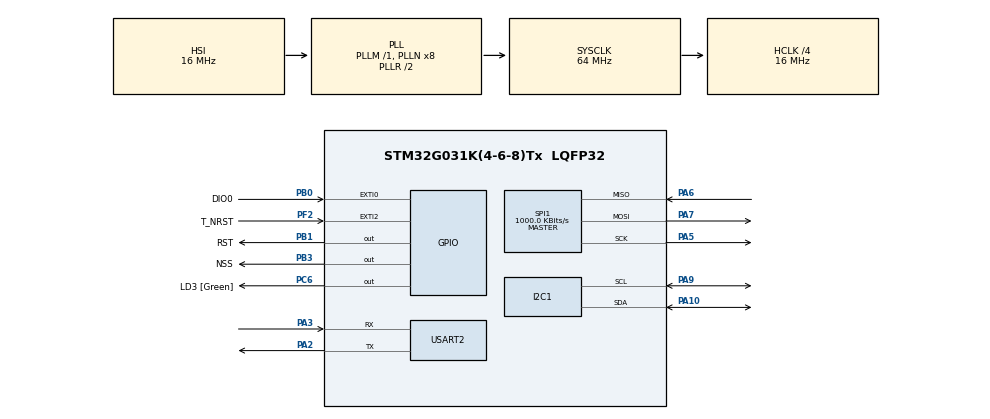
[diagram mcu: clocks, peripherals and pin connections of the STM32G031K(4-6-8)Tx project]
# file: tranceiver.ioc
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I2C1.Timing=0x00503D58
Mcu.Family=STM32G0
Mcu.Name=STM32G031K(4-6-8)Tx
Mcu.Package=LQFP32
NVIC.EXTI0_1_IRQn=true\:0\:0\:false\:false\:true\:true\:true\:true
NVIC.RTC_TAMP_IRQn=true\:0\:0\:true\:false\:true\:true\:true\:true
NVIC.SPI1_IRQn=true\:0\:0\:false\:false\:true\:true\:true\:true
NVIC.TIM16_IRQn=true\:1\:0\:true\:false\:true\:true\:true\:true
PA10.GPIO_Pu=GPIO_PULLUP
PA10.GPIO_Speed=GPIO_SPEED_FREQ_VERY_HIGH
PA10.Mode=I2C
PA10.Signal=I2C1_SDA
PA13.GPIO_Label=T_JTMS
PA13.Mode=Serial_Wire
PA13.Signal=SYS_SWDIO
PA14-BOOT0.GPIO_Label=T_JTCK
PA14-BOOT0.Mode=Serial_Wire
PA14-BOOT0.Signal=SYS_SWCLK
PA2.GPIO_ModeDefaultPP=GPIO_MODE_AF_PP
PA2.GPIO_PuPd=GPIO_NOPULL
PA2.GPIO_Speed=GPIO_SPEED_FREQ_LOW
PA2.Mode=Asynchronous
PA2.Signal=USART2_TX
PA3.GPIO_ModeDefaultPP=GPIO_MODE_AF_PP
PA3.GPIO_PuPd=GPIO_NOPULL
PA3.GPIO_Speed=GPIO_SPEED_FREQ_LOW
PA3.Mode=Asynchronous
PA3.Signal=USART2_RX
PA5.Mode=Full_Duplex_Master
PA5.Signal=SPI1_SCK
PA6.Mode=Full_Duplex_Master
PA6.Signal=SPI1_MISO
PA7.Mode=Full_Duplex_Master
PA7.Signal=SPI1_MOSI
PA9.GPIO_Pu=GPIO_PULLUP
PA9.GPIO_Speed=GPIO_SPEED_FREQ_VERY_HIGH
PA9.Mode=I2C
PA9.Signal=I2C1_SCL
PB0.GPIO_Label=DIO0
PB0.Signal=GPXTI0
PB1.GPIO_Label=RST
PB1.GPIO_Speed=GPIO_SPEED_FREQ_VERY_HIGH
PB1.PinState=GPIO_PIN_SET
PB1.Signal=GPIO_Output
PB3.GPIO_Label=NSS
PB3.GPIO_Speed=GPIO_SPEED_FREQ_VERY_HIGH
PB3.PinState=GPIO_PIN_SET
PB3.Signal=GPIO_Output
PC14-OSC32_IN\ (PC14).Mode=LSE-External-Oscillator
PC14-OSC32_IN\ (PC14).Signal=RCC_OSC32_IN
PC15-OSC32_OUT\ (PC15).Mode=LSE-External-Oscillator
PC15-OSC32_OUT\ (PC15).Signal=RCC_OSC32_OUT
PC6.GPIO_Label=LD3 [Green]
PC6.Signal=GPIO_Output
PF2\ -\ NRST.GPIO_Label=T_NRST
PF2\ -\ NRST.Signal=GPXTI2
ProjectManager.HeapSize=0x200
ProjectManager.StackSize=0x400
ProjectManager.TargetToolchain=STM32CubeIDE
RCC.ADCFreq_Value=64000000
RCC.AHBCLKDivider=RCC_SYSCLK_DIV4
RCC.AHBFreq_Value=16000000
RCC.CortexFreq_Value=16000000
RCC.EXTERNAL_CLOCK_VALUE=12288000
RCC.HCLKFreq_Value=16000000
RCC.HSE_VALUE=8000000
RCC.HSI_VALUE=16000000
RCC.SYSCLKFreq_VALUE=64000000
RCC.SYSCLKSource=RCC_SYSCLKSOURCE_PLLCLK
RCC.VCOOutputFreq_Value=128000000
RTC.Alarm-Alarm\ A=RTC_ALARM_A
RTC.Format=RTC_FORMAT_BIN
RTC.Minutes_A-Alarm\ A=1
RTC.WakeUpCounter-WakeUp=20428
SPI1.BaudRatePrescaler=SPI_BAUDRATEPRESCALER_16
SPI1.CalculateBaudRate=1000.0 KBits/s
SPI1.Direction=SPI_DIRECTION_2LINES
SPI1.Mode=SPI_MODE_MASTER
SPI1.NSSPMode=SPI_NSS_PULSE_DISABLE
SPI1.VirtualType=VM_MASTER
USART2.VirtualMode-Asynchronous=VM_ASYNC
VP_RTC_VS_RTC_Activate.Mode=RTC_Enabled
VP_RTC_VS_RTC_Alarm_A_Intern.Mode=Alarm A
VP_RTC_VS_RTC_Calendar.Mode=RTC_Calendar
VP_RTC_VS_RTC_WakeUp_intern.Mode=WakeUp
VP_TIM16_VS_ClockSourceINT.Mode=Enable_Timer
board=NUCLEO-G031K8

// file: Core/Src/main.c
/* USER CODE BEGIN Header */
/**
 ******************************************************************************
 * @file           : main.c
 * @brief          : Main program body
 ******************************************************************************
 * @attention
 *
 * Copyright (c) 2025 STMicroelectronics.
 * All rights reserved.
 *
 * This software is licensed under terms that can be found in the LICENSE file
 * in the root directory of this software component.
 * If no LICENSE file comes with this software, it is provided AS-IS.
 *
 ******************************************************************************
 */
/* USER CODE END Header */
#include "main.h"

/* USER CODE BEGIN Includes */

#include <stdio.h>
#include <string.h>
#include <stdlib.h>
#include "LoRa.h"

/* USER CODE END Includes */

/* USER CODE BEGIN PD */

#define RX_BUFFER_MAX_LENGTH 64
#define TIME_BUFFER_LENGTH 2

#define LED_Pin GPIO_PIN_5
#define LED_GPIO_Port GPIOA

#define DEBUG_ENABLED 1 // Установить на 1 для включения отладки

#if DEBUG_ENABLED
#define DEBUG_MSG(msg)                                              \
  do                                                                \
  {                                                                 \
    HAL_UART_Transmit(&huart2, (uint8_t *)(msg), strlen(msg), 100); \
  } while (0)
#define DEBUG_PRINTF(fmt, ...)                                    \
  do                                                              \
  {                                                               \
    char buf[64];                                                 \
    snprintf(buf, sizeof(buf), fmt, ##__VA_ARGS__);               \
    HAL_UART_Transmit(&huart2, (uint8_t *)buf, strlen(buf), 100); \
  } while (0)
#else
#define DEBUG_MSG(msg)
#define DEBUG_PRINTF(fmt, ...)
#endif

/* USER CODE END PD */

I2C_HandleTypeDef hi2c1;

RTC_HandleTypeDef hrtc;

SPI_HandleTypeDef hspi1;

TIM_HandleTypeDef htim16;

UART_HandleTypeDef huart2;

/* USER CODE BEGIN PV */

typedef struct
{
  uint8_t rank;
  uint8_t network_id;
  size_t buffer_size;
  char **buffer;
} Node;

typedef enum
{
  STATE_SLEEP = 0,         // Сон до следующего события
  STATE_MEASUREMENT,       // Выполнение измерения
  STATE_WAIT_DATA,         // Ожидание данных от предыдущих узлов
  STATE_TRANSMIT,          // Передача данных
  STATE_RECEIVE_TIMEOUT,   // Таймаут приема
  STATE_WAIT_SYNC,         // Ожидание синхронизации времени от приемника
  STATE_WAIT_CONFIGURATION // Ожидание конфигурации устройства при первой загрузке
} DeviceState;

typedef struct
{
  uint8_t rank;                  // Ранг устройства (нумерация начинается с единицы!!!)
  uint8_t network_id;            // Идентификатор сети
  uint8_t buffer_size;           // Размер буфера для пакета
  uint16_t wait_timeout;         // Таймаут ожидания от предыдущих узлов
  uint16_t sync_wait_timeout;    // Таймаут ожидания сообщения с временем от приемника
  uint8_t default_alarm_hours;   // Часы будильника по умолчанию
  uint8_t default_alarm_minutes; // Минуты будильника по умолчанию
  uint16_t wakeup_timeout;       // Время пробуждения по таймеру RTC в миллисекундах
  // DeviceState mode;              // Режим работы устройства (синхронизированный или же нет)
} DeviceConfig;

Node *this_transmitter;
LoRa lora_module;
DeviceConfig device_config;
DeviceState current_state;
size_t packet_size = 0;
/* USER CODE END PV */

void SystemClock_Config(void);
static void MX_GPIO_Init(void);
static void MX_I2C1_Init(void);
static void MX_SPI1_Init(void);
static void MX_USART2_UART_Init(void);
static void MX_RTC_Init(void);
static void MX_TIM16_Init(void);
/* USER CODE BEGIN PFP */

float read_voltage_ads1115(void);
void transmit_data(Node *node);
void reset_lora();
void check_spi_config();
void SystemClock_Config(void);
void enter_to_sleep(void);
void ads1115_init(void);
void RTC_Init(uint16_t timeout_ms);
Node *configure_node(uint8_t rank, uint8_t network_id, size_t buffer_size);
int push_to_packet(Node *transmitter, uint8_t rank, char *buffer);
void receive_transmit();
void sync_time_with_receiver(uint16_t sync_wait_timeout);

/* USER CODE END PFP */

/* USER CODE BEGIN 0 */

/*********************  Функции для работы с Node и обработки пакетов *********/

Node *configure_node(uint8_t rank, uint8_t network_id, size_t buffer_size)
{
  Node *transmitter = (Node *)malloc(sizeof(Node));
  if (!transmitter)
  {
    DEBUG_MSG("Error with Node initialization! \r\n");
    return NULL;
  }

  transmitter->rank = rank;
  transmitter->network_id = network_id;
  transmitter->buffer_size = buffer_size;
  transmitter->buffer = (char **)malloc(rank * sizeof(char *));

  if (!transmitter->buffer)
  {
    DEBUG_MSG("Error with Node's buffer initialization! \r\n");
    free(transmitter);
    return NULL;
  }

  for (size_t i = 0; i < rank; i++)
  {
    transmitter->buffer[i] = (char *)malloc(buffer_size + 1);
    if (!transmitter->buffer[i])
    {
      DEBUG_MSG("Error allocating buffer row! \r\n");
      // Освобождаем уже выделенную память
      for (size_t j = 0; j < i; j++)
      {
        free(transmitter->buffer[j]);
      }
      free(transmitter->buffer);
      free(transmitter);
      return NULL;
    }
    transmitter->buffer[i][0] = '\0';
  }

  // Правильная отладочная информация
  char msg[50];
  snprintf(msg, sizeof(msg), "Configured Node with params: N%dD%d \r\n",
           transmitter->network_id, transmitter->rank);
  HAL_UART_Transmit(&huart2, (uint8_t *)msg, strlen(msg), 200);

  return transmitter;
}

int push_to_packet(Node *transmitter, uint8_t rank, char *buffer)
{
  if (!transmitter || !buffer || rank > transmitter->rank)
  {
    return -1;
  }
  uint8_t index = rank - 1;

  // strncpy автоматически добавляет null-terminator
  // (если строка меньше, чем max_size)
  strncpy(transmitter->buffer[index], buffer,
          transmitter->buffer_size - 1);

  // Гарантируем null-terminator в конце
  transmitter->buffer[index][transmitter->buffer_size - 1] = '\0';

  return 0;
}

size_t serialize(Node *node, uint8_t *buffer, size_t buffer_len)
{
  if (!node || !buffer)
  {
    DEBUG_MSG("ERROR: Invalid parameters\r\n");
    return 0;
  }

  size_t offset = 0;

  if (offset + sizeof(node->network_id) > buffer_len)
  {
    DEBUG_MSG("ERROR: Buffer overflow at network_id\r\n");
    return 0;
  }

  memcpy(buffer + offset, &node->network_id, sizeof(node->network_id));
  offset += sizeof(node->network_id);

  if (offset + sizeof(node->rank) > buffer_len)
  {
    DEBUG_MSG("ERROR: Buffer overflow at rank\r\n");
    return 0;
  }

  memcpy(buffer + offset, &node->rank, sizeof(node->rank));
  offset += sizeof(node->rank);

  for (uint8_t i = 0; i < node->rank; i++)
  {
    if (!node->buffer || !node->buffer[i])
    {
      char warn[80];
      snprintf(warn, sizeof(warn),
               "WARNING: Empty buffer at slot %d\r\n", i);
      DEBUG_MSG(warn);
      continue;
    }

    size_t len = strlen(node->buffer[i]);

    // Проверяем, влезают ли данные в буфер
    if (offset + len + 1 > buffer_len)
    {
      char overflow[80];
      snprintf(overflow, sizeof(overflow),
               "WARNING: Not enough space for string %d (need %u, have %u)\r\n",
               i, (unsigned int)len,
               (unsigned int)(buffer_len - offset));
      DEBUG_MSG(overflow);
      break;
    }

    memcpy(buffer + offset, node->buffer[i], len + 1);
    offset += len + 1;

    char str_msg[50];
    snprintf(str_msg, sizeof(str_msg),
             "String %d: '%s' (len=%u), offset now=%u\r\n",
             i, node->buffer[i], (unsigned int)len, (unsigned int)offset);
    DEBUG_MSG(str_msg);
  }

  char header[50];
  snprintf(header, sizeof(header), "\r\nSerialized packet - %u bytes\r\n",
           (unsigned int)offset);
  DEBUG_MSG(header);

  return offset;
}

void deserialize(uint8_t *buffer, Node *node, size_t buffer_len)
{
  if (!node || !buffer)
    return;

  size_t offset = 0;
  uint8_t rank = 0;
  uint8_t network_id = 0;

  // Восстанавливаем network_id
  memcpy(&network_id, buffer + offset, sizeof(network_id));
  offset += sizeof(network_id);

  // Восстанавливаем rank
  memcpy(&rank, buffer + offset, sizeof(rank));
  offset += sizeof(rank);

  if (network_id != node->network_id || rank >= node->rank)
  {
    char msg[100];
    snprintf(msg, sizeof(msg), "Received message from device: Network ID=%d, Rank=%d - packet ignored\r\n",
             network_id, rank);
    DEBUG_MSG(msg);
    return;
  }

  // Восстанавливаем строки
  for (uint8_t i = 0; i < (node->rank - 1); i++)
  {
    if (offset >= buffer_len)
      break;

    // Копируем строку с null-terminator
    size_t len = strlen((char *)(buffer + offset));

    if (len + 1 > node->buffer_size)
    {
      len = node->buffer_size - 1; // Обрезаем, если слишком длинная
    }

    memcpy(node->buffer[i], buffer + offset, len + 1);
    offset += len + 1;
  }
}

size_t get_node_size(Node *node)
{
  size_t size = sizeof(node->network_id) + sizeof(node->rank);
  for (uint8_t i = 0; i < node->rank; i++)
  {
    size += strlen(node->buffer[i]) + 1; // +1 для null-terminator
  }
  return size;
}

void debug_node_contents(Node *node)
{
  char msg[50];
  snprintf(msg, sizeof(msg), "\n=== Node Debug: ID=%d, Rank=%d ===\r\n",
           node->network_id, node->rank);
  DEBUG_MSG(msg);

  for (uint8_t i = 0; i < node->rank; i++)
  {
    size_t len = strlen(node->buffer[i]);
    snprintf(msg, sizeof(msg), "Buffer[%d] (len=%zu): ", i, len);
    DEBUG_MSG(msg);
    HAL_UART_Transmit(&huart2, (uint8_t *)node->buffer[i], len, 100);
    HAL_UART_Transmit(&huart2, (uint8_t *)"\r\n", 2, 100);
  }
}

/*************************  Функции для АЦП и отправки данных */

float read_voltage_ads1115(void)
{
  uint16_t config[2] = {0};
  int16_t raw_value;
  float voltage;

  HAL_StatusTypeDef isReady = HAL_I2C_IsDeviceReady(&hi2c1, 0x90, 5, 100);
  if (isReady != HAL_OK)
  {
    DEBUG_MSG("ADS not ready! \r\n");
  }

  // Запрос данных от АЦП
  HAL_StatusTypeDef status =
      HAL_I2C_Master_Transmit(&hi2c1, 0x90, (uint8_t[]){0x00}, 1, 100);
  if (status != HAL_OK)
  {
    DEBUG_MSG("Error during sending conv reg to ADS! \r\n");
  }

  status = HAL_I2C_Master_Receive(&hi2c1, 0x90, (uint8_t *)&config, 2, 100);
  if (status != HAL_OK)
  {
    DEBUG_MSG("Error during receiving data from ADS! \r\n");
  }

  // Конвертация
  raw_value = ((config[0] << 8) | config[1]);
  voltage = (raw_value * 6.144) / 32768.0;

  // Выводим в консоль
  char msg[32];
  sprintf(msg, "Read voltage: %.3f \r\n", voltage);
  DEBUG_MSG(msg);

  return voltage;
}

void transmit_data(Node *node)
{
  /* Измеряем значение суммарного потенциала и передаем по LoRa */
  if (!node)
  {
    DEBUG_MSG("Error: Node is NULL\r\n");
    return;
  }

  ads1115_init();
  float voltage = read_voltage_ads1115();

  char err_code[3] = "E0";

  if (voltage < -3.5 || voltage > 3.5)
  {
    strcpy(err_code, "E1");
  }

  char packet[128];
  snprintf(packet, sizeof(packet), "N%dD%dV%.3f%s\r\n",
           node->network_id,
           node->rank,
           voltage,
           err_code);

  // Заполняем буфер
  if (push_to_packet(node, node->rank, packet) != 0)
  {
    DEBUG_MSG("Error: Failed to push packet to node\r\n");
    return;
  }

  // Проверяем содержимое узла
  debug_node_contents(node);

  // Вычисляем размер структуры
  packet_size = get_node_size(node);

  // Создаем и заполняем буфер u8 перед отправкой
  uint8_t serialized_packet[node->buffer_size];
  if (!serialized_packet)
  {
    DEBUG_MSG("Error: Failed to allocate serialization buffer\r\n");
    return;
  }

  serialize(node, &serialized_packet, packet_size);

  // Выводим сериализованный пакет целиком
  HAL_UART_Transmit(&huart2, serialized_packet, sizeof(serialized_packet), 200);
  HAL_UART_Transmit(&huart2, (uint8_t *)"\r\n", 2, 100);

  // Отправляем пакет
  uint8_t status = LoRa_transmit(&lora_module, serialized_packet, (uint8_t)packet_size, 200);
  if (status != 1)
  {
    DEBUG_MSG("LoRa can't send data! \r\n");
  }
  else
  {
    DEBUG_MSG("Packet was sent! \r\n");
  }

  // Освобождаем память
  free(serialized_packet);
}

void receive_transmit()
{
  /* Функция приема-передачи сообщений по запросу приемника */

  uint8_t *raw_packet = {0};

  /* Если ранг устройства не крайний в подсети, он ретранслятор */
  if (device_config.rank > 1)
  {

    /* Настраиваем таймер для ожидания сообщения от предыдущего устройства */
    TIM16_Init(device_config.wait_timeout * (device_config.rank - 1));
    HAL_TIM_Base_Start_IT(&htim16);

    /* Включаем режим приема сообщений у модуля */
    LoRa_startReceiving(&lora_module);

    /* Пока не получим сообщение предыдущего и не истечет таймаут */
    while (current_state == STATE_WAIT_DATA)
    {
      uint8_t packet_size = LoRa_receive(&lora_module, raw_packet, RX_BUFFER_MAX_LENGTH);
      HAL_Delay(50);
      if (packet_size > 0)
      {
        deserialize(raw_packet, this_transmitter, RX_BUFFER_MAX_LENGTH);
        current_state = STATE_TRANSMIT;

        debug_node_contents(this_transmitter);
        break;
      }
      LoRa_startReceiving(&lora_module);
    }

    /* Таймаут истек, передаем только свое сообщение */
    if (current_state == STATE_RECEIVE_TIMEOUT)
    {
      current_state = STATE_TRANSMIT;
      DEBUG_MSG("Timeout for receiving previous packets occurred!\r\n");
    }

    /* Теперь нужно остановить таймер */
    HAL_TIM_Base_Stop_IT(&htim16);
  }
  /* Если ранг = 1, это крайний в подсети передатчик
   * Сразу переводим в режим передачи пакета */
  else
  {
    current_state = STATE_TRANSMIT;
  }

  /* Отправляем показания текущего устройства, записав их в буфер*/
  if (current_state == STATE_TRANSMIT)
  {
    transmit_data(this_transmitter);
  }
}

void ads1115_init()
{
  uint16_t config = (0x01 << 15) | // OS: выполняем конвертацию
                    (0x00 << 12) | // MUX: A0-A1 (дифф режим)
                    (0x00 << 9) |  // PGA: ±6.144V
                    (0x01 << 8) |  // MODE: разовое чтение single-shot
                    (0x04 << 5) |  // DR: data rate (128 SPS)
                    (0x03 << 0);   // COMP_QUE: компаратор встроенный

  uint8_t config_data[3] = {0x01, config >> 8, config & 0xFF};
  HAL_StatusTypeDef isAdsReady = HAL_I2C_IsDeviceReady(&hi2c1, 0x90, 5, 1000);
  if (isAdsReady != HAL_OK)
  {
    DEBUG_MSG("Error during ADS initialization! \r\n");
  }

  HAL_StatusTypeDef status = HAL_I2C_Master_Transmit(&hi2c1, 0x90, config_data, 3, 1000);
  if (status != HAL_OK)
  {
    DEBUG_MSG("Error during ADS configuration! \r\n");
  }
}

void sync_time_with_receiver(uint16_t sync_wait_timeout)
{
  TIM16_Init(sync_wait_timeout);
  HAL_TIM_Base_Start_IT(&htim16);

  LoRa_startReceiving(&lora_module);
  while (current_state == STATE_WAIT_DATA)
  {
    uint8_t rx_buffer[TIME_BUFFER_LENGTH];
    int packet_size = LoRa_receive(&lora_module, &rx_buffer, RX_BUFFER_MAX_LENGTH);
    if (packet_size == TIME_BUFFER_LENGTH)
    {
      DEBUG_MSG("Received synchro time: \r\n");
      HAL_UART_Transmit(&huart2, rx_buffer, sizeof(rx_buffer), 100);

      LoRa_transmit(&lora_module, rx_buffer, packet_size, 100);

      Alarm_Init(rx_buffer[0], rx_buffer[1]);
      current_state = STATE_MEASUREMENT;
      return;
    }
  }
  if (current_state == STATE_RECEIVE_TIMEOUT)
  {
    DEBUG_MSG("Timeout waiting for synchro time! \r\n");
    current_state = STATE_MEASUREMENT;
    Alarm_Init(device_config.default_alarm_hours, device_config.default_alarm_minutes);
  }
  HAL_TIM_Base_Stop_IT(&htim16);
}

void RTC_Init(uint16_t timeout_ms)
{
  HAL_NVIC_SetPriority(RTC_TAMP_IRQn, 0, 0);
  HAL_NVIC_EnableIRQ(RTC_TAMP_IRQn);
  if (HAL_RTCEx_SetWakeUpTimer_IT(&hrtc, timeout_ms, RTC_WAKEUPCLOCK_RTCCLK_DIV16) != HAL_OK)
  {
    DEBUG_MSG("RTC can't set wakeup timer! \r\n");
  }
}

void RTC_Stop()
{
  if (HAL_RTCEx_DeactivateWakeUpTimer(&hrtc) != HAL_OK)
  {
    DEBUG_MSG("RTC can't deactivate wakeup timer! \r\n");
  }
}

void TIM16_Init(uint16_t timeout_ms)
{
  __HAL_TIM_CLEAR_IT(&htim16, TIM_IT_UPDATE);

  htim16.Instance = TIM16;
  htim16.Init.Prescaler = 16000 - 1;
  htim16.Init.CounterMode = TIM_COUNTERMODE_UP;
  htim16.Init.Period = timeout_ms - 1;
  htim16.Init.ClockDivision = TIM_CLOCKDIVISION_DIV1;
  htim16.Init.RepetitionCounter = 0;
  htim16.Init.AutoReloadPreload = TIM_AUTORELOAD_PRELOAD_DISABLE;

  __HAL_RCC_TIM16_CLK_ENABLE();

  HAL_NVIC_SetPriority(TIM16_IRQn, 0, 0);
  HAL_NVIC_EnableIRQ(TIM16_IRQn);
  HAL_TIM_Base_Init(&htim16);
}

void Alarm_Init(uint8_t hours, uint8_t minutes)
{
  RTC_TimeTypeDef sTime = {0};
  RTC_DateTypeDef sDate = {0};
  RTC_AlarmTypeDef sAlarm = {0};

  // Устанавливаем текущее время в 00:00:00
  sTime.Hours = 0;
  sTime.Minutes = 0;
  sTime.Seconds = 0;
  sTime.SubSeconds = 0;
  sTime.DayLightSaving = RTC_DAYLIGHTSAVING_NONE;
  sTime.StoreOperation = RTC_STOREOPERATION_RESET;
  if (HAL_RTC_SetTime(&hrtc, &sTime, RTC_FORMAT_BIN) != HAL_OK)
  {
    Error_Handler();
  }
  sDate.WeekDay = RTC_WEEKDAY_MONDAY;
  sDate.Month = RTC_MONTH_JANUARY;
  sDate.Date = 1;
  sDate.Year = 0;

  if (HAL_RTC_SetDate(&hrtc, &sDate, RTC_FORMAT_BIN) != HAL_OK)
  {
    Error_Handler();
  }

  // Задаем будильник
  sAlarm.AlarmTime.Hours = hours;
  sAlarm.AlarmTime.Minutes = minutes;
  sAlarm.AlarmTime.Seconds = 0;
  sAlarm.AlarmTime.SubSeconds = 0;
  sAlarm.AlarmTime.DayLightSaving = RTC_DAYLIGHTSAVING_NONE;
  sAlarm.AlarmTime.StoreOperation = RTC_STOREOPERATION_RESET;
  sAlarm.AlarmMask = RTC_ALARMMASK_NONE;
  sAlarm.AlarmSubSecondMask = RTC_ALARMSUBSECONDMASK_ALL;
  sAlarm.AlarmDateWeekDaySel = RTC_ALARMDATEWEEKDAYSEL_DATE;
  sAlarm.AlarmDateWeekDay = 1;
  sAlarm.Alarm = RTC_ALARM_A;

  // Отключаем предыдущий alarm перед установкой нового
  HAL_RTC_DeactivateAlarm(&hrtc, RTC_ALARM_A);
  HAL_Delay(10);

  if (HAL_RTC_SetAlarm_IT(&hrtc, &sAlarm, RTC_FORMAT_BIN) != HAL_OK)
  {
    Error_Handler();
  }
}

void MX_GPIO_DeInit()
{
  /* Переводим все ноги в аналоговый режим */
  GPIO_InitTypeDef GPIO_InitStruct = {0};
  GPIO_InitStruct.Mode = GPIO_MODE_ANALOG;
  GPIO_InitStruct.Pull = GPIO_NOPULL;
  GPIO_InitStruct.Pin = GPIO_PIN_All & ~(GPIO_PIN_13 | GPIO_PIN_14);
  HAL_GPIO_Init(GPIOA, &GPIO_InitStruct);

  GPIO_InitStruct.Pin = GPIO_PIN_All;
  HAL_GPIO_Init(GPIOB, &GPIO_InitStruct);
}

void enter_to_sleep()
{
  DEBUG_MSG("Sleep\r\n");

  HAL_I2C_DeInit(&hi2c1);
  HAL_SPI_DeInit(&hspi1);
  HAL_UART_DeInit(&huart2);
  MX_GPIO_DeInit();

  __HAL_RCC_SPI1_CLK_DISABLE();
  __HAL_RCC_USART2_CLK_DISABLE();
  __HAL_RCC_I2C1_CLK_DISABLE();

  __HAL_RCC_PWR_CLK_ENABLE();

  __HAL_PWR_CLEAR_FLAG(PWR_FLAG_WUF);

  HAL_SuspendTick();

  HAL_PWR_EnterSLEEPMode(PWR_LOWPOWERREGULATOR_ON, PWR_SLEEPENTRY_WFI);

  SystemClock_Config();
  HAL_ResumeTick();

  __HAL_RCC_SPI1_CLK_ENABLE();
  __HAL_RCC_USART2_CLK_ENABLE();
  __HAL_RCC_I2C1_CLK_ENABLE();

  MX_GPIO_Init();
  MX_USART2_UART_Init();
  check_spi_config();
  MX_I2C1_Init();

  reset_lora();
  uint16_t lora_status = LoRa_init(&lora_module);
  if (lora_status != 200)
  {
    DEBUG_MSG("LoRa init failed\r\n");
  }
}

void reset_lora()
{
  HAL_GPIO_WritePin(lora_module.reset_port, lora_module.reset_pin, GPIO_PIN_RESET);
  HAL_Delay(100);
  HAL_GPIO_WritePin(lora_module.reset_port, lora_module.reset_pin, GPIO_PIN_SET);
  HAL_Delay(100);
}

void check_spi_config()
{
  // Переинициализация SPI
  if (hspi1.Instance->CR1 != SPI_CR1_SSM | SPI_CR1_SSI | SPI_CR1_SPE |
      SPI_CR1_BR_0 | SPI_CR1_MSTR)
  {
    MX_SPI1_Init();
  }
}

/* Обработчики прерываний */

void HAL_RTCEx_WakeUpTimerEventCallback(RTC_HandleTypeDef *hrtc)
{
  if (current_state == STATE_WAIT_CONFIGURATION)
  {
    // DEBUG
    DEBUG_MSG("RTC wake up triggered: exiting configuration wait state \r\n");

    // Проверям сообщение от приемника
    uint8_t rx_buffer[RX_BUFFER_MAX_LENGTH];
    int packet_size = LoRa_receive(&lora_module, &rx_buffer, RX_BUFFER_MAX_LENGTH);
    if (packet_size == TIME_BUFFER_LENGTH)
    {
      // Debug message
      DEBUG_MSG("Received synchro time during configuration: \r\n");
      HAL_UART_Transmit(&huart2, rx_buffer, sizeof(rx_buffer), 100);

      Alarm_Init(rx_buffer[0], rx_buffer[1]);
      current_state = STATE_MEASUREMENT;
    }
    else
    {
      DEBUG_MSG("No synchro time received during configuration, keep sleep and waiting \r\n");
      current_state = STATE_WAIT_CONFIGURATION;
    }
  }
  else
  {
    current_state = STATE_MEASUREMENT;
  }
}

/* Обработчики прерываний по таймеру (ожидание приема/отправки) */

void HAL_TIM_PeriodElapsedCallback(TIM_HandleTypeDef *htim)
{
  if (htim->Instance == TIM16)
  {
    current_state = STATE_RECEIVE_TIMEOUT;
  }
}

void HAL_RTC_AlarmAEventCallback(RTC_HandleTypeDef *hrtc)
{
  DEBUG_MSG("Wake up from Alarm: start retranslation\r\n");
  current_state = STATE_WAIT_DATA;
}

/* USER CODE END 0 */

int main(void)
{

  /* MCU Configuration--------------------------------------------------------*/

  /* Reset of all peripherals, Initializes the Flash interface and the Systick. */
  HAL_Init();

  /* Configure the system clock */
  SystemClock_Config();

  /* Initialize all configured peripherals */
  MX_GPIO_Init();
  MX_I2C1_Init();
  MX_SPI1_Init();
  MX_USART2_UART_Init();
  MX_RTC_Init();
  MX_TIM16_Init();
  /* USER CODE BEGIN 2 */

  lora_module = newLoRa();
  lora_module.CS_port = NSS_GPIO_Port;
  lora_module.CS_pin = NSS_Pin;
  lora_module.reset_port = RST_GPIO_Port;
  lora_module.reset_pin = RST_Pin;
  lora_module.DIO0_port = DIO0_GPIO_Port;
  lora_module.DIO0_pin = DIO0_Pin;
  lora_module.hSPIx = &hspi1;

  uint16_t lora_status = LoRa_init(&lora_module);
  if (lora_status != 200)
  {
    DEBUG_MSG("LoRa init failed \n\r");
  }

  device_config.rank = 1;
  device_config.network_id = 1;
  device_config.buffer_size = 20;
  device_config.wait_timeout = 5000;       // 5 sec
  device_config.sync_wait_timeout = 30000; // 30 sec
  device_config.default_alarm_hours = 0;
  device_config.default_alarm_minutes = 1;
  device_config.wakeup_timeout = 20428; // 10 sec

  this_transmitter = configure_node(device_config.rank, device_config.network_id, device_config.buffer_size);

  current_state = STATE_WAIT_CONFIGURATION;

  /* USER CODE END 2 */

  /* Infinite loop */
  /* USER CODE BEGIN WHILE */
  while (1)
  {
    switch (current_state)
    {
    case STATE_MEASUREMENT:
      current_state = STATE_SLEEP;
      break;
    case STATE_RECEIVE_TIMEOUT:
      // Обрабатывается в функции receive_transmit()
      break;
    case STATE_SLEEP:
      RTC_Init(device_config.wakeup_timeout);
      enter_to_sleep();
      RTC_Stop();
      break;
    case STATE_TRANSMIT:
      transmit_data(this_transmitter);
      current_state = STATE_SLEEP;
      break;
    case STATE_WAIT_DATA:
      DEBUG_MSG("Retranslation\r\n");
      HAL_RTC_DeactivateAlarm(&hrtc, RTC_ALARM_A);
      HAL_Delay(20);
      RTC_Stop();
      receive_transmit();
      current_state = STATE_WAIT_SYNC;
      break;
    case STATE_WAIT_SYNC:
    	// Механизм переписать!!!
      sync_time_with_receiver(device_config.sync_wait_timeout);
      current_state = STATE_MEASUREMENT;
      break;
    case STATE_WAIT_CONFIGURATION:
      LoRa_startReceiving(&lora_module);
      DEBUG_MSG("Wait config\r\n");

      RTC_Init(device_config.wakeup_timeout);
      enter_to_sleep();
      RTC_Stop();
      // После пробуждения current_state уже установлено в callback
      break;
    default:
      current_state = STATE_SLEEP;
    }

    /* USER CODE END WHILE */

  }
}

void SystemClock_Config(void)
{
  RCC_OscInitTypeDef RCC_OscInitStruct = {0};
  RCC_ClkInitTypeDef RCC_ClkInitStruct = {0};

  /** Configure the main internal regulator output voltage
  */
  HAL_PWREx_ControlVoltageScaling(PWR_REGULATOR_VOLTAGE_SCALE1);

  /** Initializes the RCC Oscillators according to the specified parameters
  * in the RCC_OscInitTypeDef structure.
  */
  RCC_OscInitStruct.OscillatorType = RCC_OSCILLATORTYPE_HSI|RCC_OSCILLATORTYPE_LSI;
  RCC_OscInitStruct.HSIState = RCC_HSI_ON;
  RCC_OscInitStruct.HSIDiv = RCC_HSI_DIV1;
  RCC_OscInitStruct.HSICalibrationValue = RCC_HSICALIBRATION_DEFAULT;
  RCC_OscInitStruct.LSIState = RCC_LSI_ON;
  RCC_OscInitStruct.PLL.PLLState = RCC_PLL_ON;
  RCC_OscInitStruct.PLL.PLLSource = RCC_PLLSOURCE_HSI;
  RCC_OscInitStruct.PLL.PLLM = RCC_PLLM_DIV1;
  RCC_OscInitStruct.PLL.PLLN = 8;
  RCC_OscInitStruct.PLL.PLLP = RCC_PLLP_DIV2;
  RCC_OscInitStruct.PLL.PLLQ = RCC_PLLQ_DIV2;
  RCC_OscInitStruct.PLL.PLLR = RCC_PLLR_DIV2;
  if (HAL_RCC_OscConfig(&RCC_OscInitStruct) != HAL_OK)
  {
    Error_Handler();
  }

  /** Initializes the CPU, AHB and APB buses clocks
  */
  RCC_ClkInitStruct.ClockType = RCC_CLOCKTYPE_HCLK|RCC_CLOCKTYPE_SYSCLK
                              |RCC_CLOCKTYPE_PCLK1;
  RCC_ClkInitStruct.SYSCLKSource = RCC_SYSCLKSOURCE_PLLCLK;
  RCC_ClkInitStruct.AHBCLKDivider = RCC_SYSCLK_DIV4;
  RCC_ClkInitStruct.APB1CLKDivider = RCC_HCLK_DIV1;

  if (HAL_RCC_ClockConfig(&RCC_ClkInitStruct, FLASH_LATENCY_0) != HAL_OK)
  {
    Error_Handler();
  }
}

static void MX_I2C1_Init(void)
{

  hi2c1.Instance = I2C1;
  hi2c1.Init.Timing = 0x00503D58;
  hi2c1.Init.OwnAddress1 = 0;
  hi2c1.Init.AddressingMode = I2C_ADDRESSINGMODE_7BIT;
  hi2c1.Init.DualAddressMode = I2C_DUALADDRESS_DISABLE;
  hi2c1.Init.OwnAddress2 = 0;
  hi2c1.Init.OwnAddress2Masks = I2C_OA2_NOMASK;
  hi2c1.Init.GeneralCallMode = I2C_GENERALCALL_DISABLE;
  hi2c1.Init.NoStretchMode = I2C_NOSTRETCH_DISABLE;
  if (HAL_I2C_Init(&hi2c1) != HAL_OK)
  {
    Error_Handler();
  }

  /** Configure Analogue filter
  */
  if (HAL_I2CEx_ConfigAnalogFilter(&hi2c1, I2C_ANALOGFILTER_ENABLE) != HAL_OK)
  {
    Error_Handler();
  }

  /** Configure Digital filter
  */
  if (HAL_I2CEx_ConfigDigitalFilter(&hi2c1, 0) != HAL_OK)
  {
    Error_Handler();
  }

}

static void MX_RTC_Init(void)
{

  RTC_TimeTypeDef sTime = {0};
  RTC_DateTypeDef sDate = {0};
  RTC_AlarmTypeDef sAlarm = {0};

  /** Initialize RTC Only
  */
  hrtc.Instance = RTC;
  hrtc.Init.HourFormat = RTC_HOURFORMAT_24;
  hrtc.Init.AsynchPrediv = 127;
  hrtc.Init.SynchPrediv = 255;
  hrtc.Init.OutPut = RTC_OUTPUT_DISABLE;
  hrtc.Init.OutPutRemap = RTC_OUTPUT_REMAP_NONE;
  hrtc.Init.OutPutPolarity = RTC_OUTPUT_POLARITY_HIGH;
  hrtc.Init.OutPutType = RTC_OUTPUT_TYPE_OPENDRAIN;
  hrtc.Init.OutPutPullUp = RTC_OUTPUT_PULLUP_NONE;
  if (HAL_RTC_Init(&hrtc) != HAL_OK)
  {
    Error_Handler();
  }

  /** Initialize RTC and set the Time and Date
  */
  sTime.Hours = 0;
  sTime.Minutes = 0;
  sTime.Seconds = 0;
  sTime.SubSeconds = 0;
  sTime.DayLightSaving = RTC_DAYLIGHTSAVING_NONE;
  sTime.StoreOperation = RTC_STOREOPERATION_RESET;
  if (HAL_RTC_SetTime(&hrtc, &sTime, RTC_FORMAT_BIN) != HAL_OK)
  {
    Error_Handler();
  }
  sDate.WeekDay = RTC_WEEKDAY_MONDAY;
  sDate.Month = RTC_MONTH_JANUARY;
  sDate.Date = 1;
  sDate.Year = 0;

  if (HAL_RTC_SetDate(&hrtc, &sDate, RTC_FORMAT_BIN) != HAL_OK)
  {
    Error_Handler();
  }

  /** Enable the Alarm A
  */
  sAlarm.AlarmTime.Hours = 0;
  sAlarm.AlarmTime.Minutes = 1;
  sAlarm.AlarmTime.Seconds = 0;
  sAlarm.AlarmTime.SubSeconds = 0;
  sAlarm.AlarmTime.DayLightSaving = RTC_DAYLIGHTSAVING_NONE;
  sAlarm.AlarmTime.StoreOperation = RTC_STOREOPERATION_RESET;
  sAlarm.AlarmMask = RTC_ALARMMASK_NONE;
  sAlarm.AlarmSubSecondMask = RTC_ALARMSUBSECONDMASK_ALL;
  sAlarm.AlarmDateWeekDaySel = RTC_ALARMDATEWEEKDAYSEL_DATE;
  sAlarm.AlarmDateWeekDay = 1;
  sAlarm.Alarm = RTC_ALARM_A;
  if (HAL_RTC_SetAlarm_IT(&hrtc, &sAlarm, RTC_FORMAT_BIN) != HAL_OK)
  {
    Error_Handler();
  }

  /** Enable the WakeUp
  */
  if (HAL_RTCEx_SetWakeUpTimer_IT(&hrtc, 20428, RTC_WAKEUPCLOCK_RTCCLK_DIV16) != HAL_OK)
  {
    Error_Handler();
  }

}

static void MX_SPI1_Init(void)
{

  /* SPI1 parameter configuration*/
  hspi1.Instance = SPI1;
  hspi1.Init.Mode = SPI_MODE_MASTER;
  hspi1.Init.Direction = SPI_DIRECTION_2LINES;
  hspi1.Init.DataSize = SPI_DATASIZE_8BIT;
  hspi1.Init.CLKPolarity = SPI_POLARITY_LOW;
  hspi1.Init.CLKPhase = SPI_PHASE_1EDGE;
  hspi1.Init.NSS = SPI_NSS_SOFT;
  hspi1.Init.BaudRatePrescaler = SPI_BAUDRATEPRESCALER_16;
  hspi1.Init.FirstBit = SPI_FIRSTBIT_MSB;
  hspi1.Init.TIMode = SPI_TIMODE_DISABLE;
  hspi1.Init.CRCCalculation = SPI_CRCCALCULATION_DISABLE;
  hspi1.Init.CRCPolynomial = 7;
  hspi1.Init.CRCLength = SPI_CRC_LENGTH_DATASIZE;
  hspi1.Init.NSSPMode = SPI_NSS_PULSE_DISABLE;
  if (HAL_SPI_Init(&hspi1) != HAL_OK)
  {
    Error_Handler();
  }
  /* USER CODE BEGIN SPI1_Init 2 */

  HAL_NVIC_SetPriority(EXTI0_1_IRQn, 1, 0); // Приоритет 1 (ниже RTC)
  HAL_NVIC_EnableIRQ(EXTI0_1_IRQn);
  /* USER CODE END SPI1_Init 2 */

}

static void MX_TIM16_Init(void)
{

  htim16.Instance = TIM16;
  htim16.Init.Prescaler = 0;
  htim16.Init.CounterMode = TIM_COUNTERMODE_UP;
  htim16.Init.Period = 65535;
  htim16.Init.ClockDivision = TIM_CLOCKDIVISION_DIV1;
  htim16.Init.RepetitionCounter = 0;
  htim16.Init.AutoReloadPreload = TIM_AUTORELOAD_PRELOAD_DISABLE;
  if (HAL_TIM_Base_Init(&htim16) != HAL_OK)
  {
    Error_Handler();
  }

}

static void MX_USART2_UART_Init(void)
{

  huart2.Instance = USART2;
  huart2.Init.BaudRate = 115200;
  huart2.Init.WordLength = UART_WORDLENGTH_8B;
  huart2.Init.StopBits = UART_STOPBITS_1;
  huart2.Init.Parity = UART_PARITY_NONE;
  huart2.Init.Mode = UART_MODE_TX_RX;
  huart2.Init.HwFlowCtl = UART_HWCONTROL_NONE;
  huart2.Init.OverSampling = UART_OVERSAMPLING_16;
  huart2.Init.OneBitSampling = UART_ONE_BIT_SAMPLE_DISABLE;
  huart2.Init.ClockPrescaler = UART_PRESCALER_DIV1;
  huart2.AdvancedInit.AdvFeatureInit = UART_ADVFEATURE_NO_INIT;
  if (HAL_UART_Init(&huart2) != HAL_OK)
  {
    Error_Handler();
  }

}

static void MX_GPIO_Init(void)
{
  GPIO_InitTypeDef GPIO_InitStruct = {0};

  /* GPIO Ports Clock Enable */
  __HAL_RCC_GPIOC_CLK_ENABLE();
  __HAL_RCC_GPIOF_CLK_ENABLE();
  __HAL_RCC_GPIOA_CLK_ENABLE();
  __HAL_RCC_GPIOB_CLK_ENABLE();

  /*Configure GPIO pin Output Level */
  HAL_GPIO_WritePin(GPIOB, RST_Pin|NSS_Pin, GPIO_PIN_SET);

  /*Configure GPIO pin Output Level */
  HAL_GPIO_WritePin(LD3_GPIO_Port, LD3_Pin, GPIO_PIN_RESET);

  /*Configure GPIO pin : T_NRST_Pin */
  GPIO_InitStruct.Pin = T_NRST_Pin;
  GPIO_InitStruct.Mode = GPIO_MODE_IT_RISING;
  GPIO_InitStruct.Pull = GPIO_NOPULL;
  HAL_GPIO_Init(T_NRST_GPIO_Port, &GPIO_InitStruct);

  /*Configure GPIO pin : DIO0_Pin */
  GPIO_InitStruct.Pin = DIO0_Pin;
  GPIO_InitStruct.Mode = GPIO_MODE_IT_RISING;
  GPIO_InitStruct.Pull = GPIO_NOPULL;
  HAL_GPIO_Init(DIO0_GPIO_Port, &GPIO_InitStruct);

  /*Configure GPIO pins : RST_Pin NSS_Pin */
  GPIO_InitStruct.Pin = RST_Pin|NSS_Pin;
  GPIO_InitStruct.Mode = GPIO_MODE_OUTPUT_PP;
  GPIO_InitStruct.Pull = GPIO_NOPULL;
  GPIO_InitStruct.Speed = GPIO_SPEED_FREQ_VERY_HIGH;
  HAL_GPIO_Init(GPIOB, &GPIO_InitStruct);

  /*Configure GPIO pin : LD3_Pin */
  GPIO_InitStruct.Pin = LD3_Pin;
  GPIO_InitStruct.Mode = GPIO_MODE_OUTPUT_PP;
  GPIO_InitStruct.Pull = GPIO_NOPULL;
  GPIO_InitStruct.Speed = GPIO_SPEED_FREQ_LOW;
  HAL_GPIO_Init(LD3_GPIO_Port, &GPIO_InitStruct);

  /* EXTI interrupt init*/
  HAL_NVIC_SetPriority(EXTI0_1_IRQn, 0, 0);
  HAL_NVIC_EnableIRQ(EXTI0_1_IRQn);

}

void Error_Handler(void)
{
  /* USER CODE BEGIN Error_Handler_Debug */
  /* User can add his own implementation to report the HAL error return state */
  __disable_irq();
  char *err_msg = "Undefined error with peripherals! \r\n";
  HAL_UART_Transmit(&huart2, (uint8_t *)err_msg, strlen(err_msg), 100);
  while (1)
  {
  }
  /* USER CODE END Error_Handler_Debug */
}
